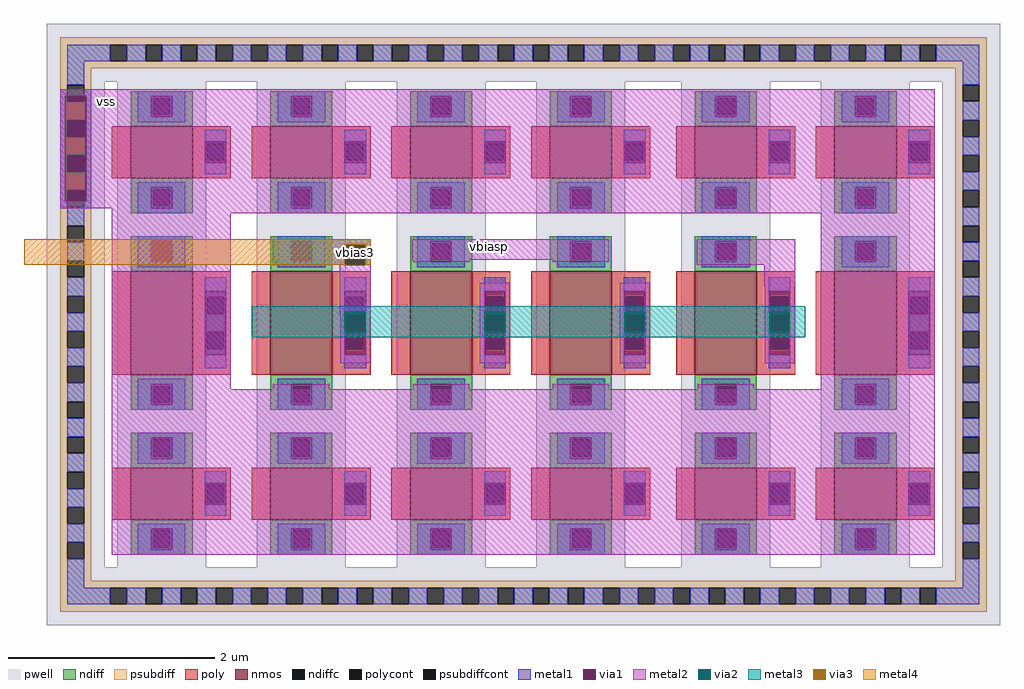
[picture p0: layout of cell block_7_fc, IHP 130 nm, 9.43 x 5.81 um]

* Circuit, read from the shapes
.subckt block_7_fc vbias3 vbiasp vss
XM1 vss vss vss vss sg13_lv_nmos w=0.6u l=0.5u m=12
XM2 vss vss vss vss sg13_lv_nmos w=0.6u l=1u m=2
XM3 vbias3 vbias3 vss vss sg13_lv_nmos w=0.6u l=1u m=2
XM4 vbiasp vbias3 vss vss sg13_lv_nmos w=0.6u l=1u m=2
.ends

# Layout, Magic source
magic
tech ihp-sg13g2
magscale 1 2
<< pwell >>
rect -196 654 1646 766
rect -196 -284 -84 654
rect 1534 -284 1646 654
rect -196 -396 1646 -284
<< psubdiff >>
rect -170 726 1620 740
rect -170 694 -73 726
rect -41 694 -5 726
rect 27 694 63 726
rect 95 694 131 726
rect 163 694 199 726
rect 231 694 267 726
rect 299 694 335 726
rect 367 694 403 726
rect 435 694 471 726
rect 503 694 539 726
rect 571 694 607 726
rect 639 694 675 726
rect 707 694 743 726
rect 775 694 811 726
rect 843 694 879 726
rect 911 694 947 726
rect 979 694 1015 726
rect 1047 694 1083 726
rect 1115 694 1151 726
rect 1183 694 1219 726
rect 1251 694 1287 726
rect 1319 694 1355 726
rect 1387 694 1423 726
rect 1455 694 1491 726
rect 1523 694 1620 726
rect -170 680 1620 694
rect -170 648 -110 680
rect -170 616 -156 648
rect -124 616 -110 648
rect -170 580 -110 616
rect -170 548 -156 580
rect -124 548 -110 580
rect -170 512 -110 548
rect -170 480 -156 512
rect -124 480 -110 512
rect -170 444 -110 480
rect -170 412 -156 444
rect -124 412 -110 444
rect -170 376 -110 412
rect -170 344 -156 376
rect -124 344 -110 376
rect -170 308 -110 344
rect -170 276 -156 308
rect -124 276 -110 308
rect -170 240 -110 276
rect -170 208 -156 240
rect -124 208 -110 240
rect -170 172 -110 208
rect -170 140 -156 172
rect -124 140 -110 172
rect -170 104 -110 140
rect -170 72 -156 104
rect -124 72 -110 104
rect -170 36 -110 72
rect -170 4 -156 36
rect -124 4 -110 36
rect -170 -32 -110 4
rect -170 -64 -156 -32
rect -124 -64 -110 -32
rect -170 -100 -110 -64
rect -170 -132 -156 -100
rect -124 -132 -110 -100
rect -170 -168 -110 -132
rect -170 -200 -156 -168
rect -124 -200 -110 -168
rect -170 -236 -110 -200
rect -170 -268 -156 -236
rect -124 -268 -110 -236
rect -170 -310 -110 -268
rect 1560 648 1620 680
rect 1560 616 1574 648
rect 1606 616 1620 648
rect 1560 580 1620 616
rect 1560 548 1574 580
rect 1606 548 1620 580
rect 1560 512 1620 548
rect 1560 480 1574 512
rect 1606 480 1620 512
rect 1560 444 1620 480
rect 1560 412 1574 444
rect 1606 412 1620 444
rect 1560 376 1620 412
rect 1560 344 1574 376
rect 1606 344 1620 376
rect 1560 308 1620 344
rect 1560 276 1574 308
rect 1606 276 1620 308
rect 1560 240 1620 276
rect 1560 208 1574 240
rect 1606 208 1620 240
rect 1560 172 1620 208
rect 1560 140 1574 172
rect 1606 140 1620 172
rect 1560 104 1620 140
rect 1560 72 1574 104
rect 1606 72 1620 104
rect 1560 36 1620 72
rect 1560 4 1574 36
rect 1606 4 1620 36
rect 1560 -32 1620 4
rect 1560 -64 1574 -32
rect 1606 -64 1620 -32
rect 1560 -100 1620 -64
rect 1560 -132 1574 -100
rect 1606 -132 1620 -100
rect 1560 -168 1620 -132
rect 1560 -200 1574 -168
rect 1606 -200 1620 -168
rect 1560 -236 1620 -200
rect 1560 -268 1574 -236
rect 1606 -268 1620 -236
rect 1560 -310 1620 -268
rect -170 -324 1620 -310
rect -170 -356 -73 -324
rect -41 -356 -5 -324
rect 27 -356 63 -324
rect 95 -356 131 -324
rect 163 -356 199 -324
rect 231 -356 267 -324
rect 299 -356 335 -324
rect 367 -356 403 -324
rect 435 -356 471 -324
rect 503 -356 539 -324
rect 571 -356 607 -324
rect 639 -356 675 -324
rect 707 -356 743 -324
rect 775 -356 811 -324
rect 843 -356 879 -324
rect 911 -356 947 -324
rect 979 -356 1015 -324
rect 1047 -356 1083 -324
rect 1115 -356 1151 -324
rect 1183 -356 1219 -324
rect 1251 -356 1287 -324
rect 1319 -356 1355 -324
rect 1387 -356 1423 -324
rect 1455 -356 1491 -324
rect 1523 -356 1620 -324
rect -170 -370 1620 -356
<< psubdiffcont >>
rect -73 694 -41 726
rect -5 694 27 726
rect 63 694 95 726
rect 131 694 163 726
rect 199 694 231 726
rect 267 694 299 726
rect 335 694 367 726
rect 403 694 435 726
rect 471 694 503 726
rect 539 694 571 726
rect 607 694 639 726
rect 675 694 707 726
rect 743 694 775 726
rect 811 694 843 726
rect 879 694 911 726
rect 947 694 979 726
rect 1015 694 1047 726
rect 1083 694 1115 726
rect 1151 694 1183 726
rect 1219 694 1251 726
rect 1287 694 1319 726
rect 1355 694 1387 726
rect 1423 694 1455 726
rect 1491 694 1523 726
rect -156 616 -124 648
rect -156 548 -124 580
rect -156 480 -124 512
rect -156 412 -124 444
rect -156 344 -124 376
rect -156 276 -124 308
rect -156 208 -124 240
rect -156 140 -124 172
rect -156 72 -124 104
rect -156 4 -124 36
rect -156 -64 -124 -32
rect -156 -132 -124 -100
rect -156 -200 -124 -168
rect -156 -268 -124 -236
rect 1574 616 1606 648
rect 1574 548 1606 580
rect 1574 480 1606 512
rect 1574 412 1606 444
rect 1574 344 1606 376
rect 1574 276 1606 308
rect 1574 208 1606 240
rect 1574 140 1606 172
rect 1574 72 1606 104
rect 1574 4 1606 36
rect 1574 -64 1606 -32
rect 1574 -132 1606 -100
rect 1574 -200 1606 -168
rect 1574 -268 1606 -236
rect -73 -356 -41 -324
rect -5 -356 27 -324
rect 63 -356 95 -324
rect 131 -356 163 -324
rect 199 -356 231 -324
rect 267 -356 299 -324
rect 335 -356 367 -324
rect 403 -356 435 -324
rect 471 -356 503 -324
rect 539 -356 571 -324
rect 607 -356 639 -324
rect 675 -356 707 -324
rect 743 -356 775 -324
rect 811 -356 843 -324
rect 879 -356 911 -324
rect 947 -356 979 -324
rect 1015 -356 1047 -324
rect 1083 -356 1115 -324
rect 1151 -356 1183 -324
rect 1219 -356 1251 -324
rect 1287 -356 1319 -324
rect 1355 -356 1387 -324
rect 1423 -356 1455 -324
rect 1491 -356 1523 -324
<< metal1 >>
rect -156 694 -73 726
rect -41 694 -5 726
rect 27 694 63 726
rect 95 694 131 726
rect 163 694 199 726
rect 231 694 267 726
rect 299 694 335 726
rect 367 694 403 726
rect 435 694 471 726
rect 503 694 539 726
rect 571 694 607 726
rect 639 694 675 726
rect 707 694 743 726
rect 775 694 811 726
rect 843 694 879 726
rect 911 694 947 726
rect 979 694 1015 726
rect 1047 694 1083 726
rect 1115 694 1151 726
rect 1183 694 1219 726
rect 1251 694 1287 726
rect 1319 694 1355 726
rect 1387 694 1423 726
rect 1455 694 1491 726
rect 1523 694 1606 726
rect -156 648 -124 694
rect -170 627 -156 640
rect 1574 648 1606 694
rect -124 627 -110 640
rect -170 423 -160 627
rect -120 423 -110 627
rect -170 412 -156 423
rect -124 412 -110 423
rect -170 410 -110 412
rect 1574 580 1606 616
rect 1574 512 1606 548
rect 1574 444 1606 480
rect -156 376 -124 410
rect -156 308 -124 344
rect -156 240 -124 276
rect -156 172 -124 208
rect -156 104 -124 140
rect -156 36 -124 72
rect -156 -32 -124 4
rect -156 -100 -124 -64
rect -156 -168 -124 -132
rect -156 -236 -124 -200
rect -156 -324 -124 -268
rect 1574 376 1606 412
rect 1574 308 1606 344
rect 1574 240 1606 276
rect 1574 172 1606 208
rect 1574 104 1606 140
rect 1574 36 1606 72
rect 1574 -32 1606 4
rect 1574 -100 1606 -64
rect 1574 -168 1606 -132
rect 1574 -236 1606 -200
rect 1574 -324 1606 -268
rect -156 -356 -73 -324
rect -41 -356 -5 -324
rect 27 -356 63 -324
rect 95 -356 131 -324
rect 163 -356 199 -324
rect 231 -356 267 -324
rect 299 -356 335 -324
rect 367 -356 403 -324
rect 435 -356 471 -324
rect 503 -356 539 -324
rect 571 -356 607 -324
rect 639 -356 675 -324
rect 707 -356 743 -324
rect 775 -356 811 -324
rect 843 -356 879 -324
rect 911 -356 947 -324
rect 979 -356 1015 -324
rect 1047 -356 1083 -324
rect 1115 -356 1151 -324
rect 1183 -356 1219 -324
rect 1251 -356 1287 -324
rect 1319 -356 1355 -324
rect 1387 -356 1423 -324
rect 1455 -356 1491 -324
rect 1523 -356 1606 -324
<< via1 >>
rect -160 616 -156 627
rect -156 616 -124 627
rect -124 616 -120 627
rect -160 580 -120 616
rect -160 548 -156 580
rect -156 548 -124 580
rect -124 548 -120 580
rect -160 512 -120 548
rect -160 480 -156 512
rect -156 480 -124 512
rect -124 480 -120 512
rect -160 444 -120 480
rect -160 423 -156 444
rect -156 423 -124 444
rect -124 423 -120 444
<< metal2 >>
rect -170 627 1520 640
rect -170 423 -160 627
rect -120 423 1520 627
rect -170 410 1520 423
rect -70 400 1520 410
rect -70 60 160 400
rect 250 340 430 350
rect 250 300 380 340
rect 420 300 430 340
rect 510 310 890 350
rect 1060 300 1250 350
rect 370 210 430 300
rect 1190 260 1250 300
rect 370 200 380 210
rect 420 200 430 210
rect 1300 60 1520 400
rect -70 -260 1520 60
<< via2 >>
rect 380 300 420 340
rect 380 170 420 210
rect 650 170 690 210
rect 920 170 960 210
rect 1200 170 1240 210
<< metal3 >>
rect 240 340 430 350
rect 240 300 380 340
rect 420 300 430 340
rect 200 210 1270 220
rect 200 170 380 210
rect 420 170 650 210
rect 690 170 920 210
rect 960 170 1200 210
rect 1240 170 1270 210
rect 200 160 1270 170
<< via3 >>
rect 380 300 420 340
<< metal4 >>
rect -240 340 430 350
rect -240 300 380 340
rect 420 300 430 340
use sg13_lv_nmos_37Z7VP  sg13_lv_nmos_37Z7VP_0
transform 0 1 45 -1 0 188
box -194 -115 194 115
use sg13_lv_nmos_37Z7VP  sg13_lv_nmos_37Z7VP_1
transform 0 1 585 -1 0 188
box -194 -115 194 115
use sg13_lv_nmos_37Z7VP  sg13_lv_nmos_37Z7VP_2
transform 0 1 1135 -1 0 188
box -194 -115 194 115
use sg13_lv_nmos_A7GMYB  sg13_lv_nmos_A7GMYB_0
transform 0 1 45 -1 0 518
box -144 -115 144 115
use sg13_lv_nmos_A7GMYB  sg13_lv_nmos_A7GMYB_1
transform 0 1 315 -1 0 518
box -144 -115 144 115
use sg13_lv_nmos_A7GMYB  sg13_lv_nmos_A7GMYB_2
transform 0 1 855 -1 0 518
box -144 -115 144 115
use sg13_lv_nmos_A7GMYB  sg13_lv_nmos_A7GMYB_3
transform 0 1 585 -1 0 518
box -144 -115 144 115
use sg13_lv_nmos_A7GMYB  sg13_lv_nmos_A7GMYB_4
transform 0 1 1405 -1 0 518
box -144 -115 144 115
use sg13_lv_nmos_A7GMYB  sg13_lv_nmos_A7GMYB_5
transform 0 1 1135 -1 0 518
box -144 -115 144 115
use sg13_lv_nmos_A7GMYB  sg13_lv_nmos_A7GMYB_6
transform 0 1 1405 -1 0 -142
box -144 -115 144 115
use sg13_lv_nmos_A7GMYB  sg13_lv_nmos_A7GMYB_7
transform 0 1 1135 -1 0 -142
box -144 -115 144 115
use sg13_lv_nmos_A7GMYB  sg13_lv_nmos_A7GMYB_8
transform 0 1 855 -1 0 -142
box -144 -115 144 115
use sg13_lv_nmos_A7GMYB  sg13_lv_nmos_A7GMYB_9
transform 0 1 585 -1 0 -142
box -144 -115 144 115
use sg13_lv_nmos_A7GMYB  sg13_lv_nmos_A7GMYB_10
transform 0 1 315 -1 0 -142
box -144 -115 144 115
use sg13_lv_nmos_A7GMYB  sg13_lv_nmos_A7GMYB_11
transform 0 1 45 -1 0 -142
box -144 -115 144 115
use sg13_lv_nmos_BLZ7V5  sg13_lv_nmos_BLZ7V5_0
transform 0 -1 315 -1 0 188
box -194 -115 194 115
use sg13_lv_nmos_BLZ7V5  sg13_lv_nmos_BLZ7V5_1
transform 0 -1 855 -1 0 188
box -194 -115 194 115
use sg13_lv_nmos_BLZ7V5  sg13_lv_nmos_BLZ7V5_2
transform 0 -1 1405 -1 0 188
box -194 -115 194 115
<< labels >>
flabel metal2 s 380 310 420 340 0 FreeSans 2979 0 0 0 vbias3
flabel metal2 s 640 320 680 350 0 FreeSans 2979 0 0 0 vbiasp
flabel metal2 s -100 600 -60 630 0 FreeSans 2979 0 0 0 vss
<< end >>

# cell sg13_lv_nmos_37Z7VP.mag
magic
tech ihp-sg13g2
magscale 1 2
<< pwell >>
rect -194 -105 194 67
<< nmos >>
rect -100 -79 100 41
<< ndiff >>
rect -168 -3 -100 41
rect -168 -35 -154 -3
rect -122 -35 -100 -3
rect -168 -79 -100 -35
rect 100 -3 168 41
rect 100 -35 122 -3
rect 154 -35 168 -3
rect 100 -79 168 -35
<< ndiffc >>
rect -154 -35 -122 -3
rect 122 -35 154 -3
<< poly >>
rect -100 101 100 115
rect -100 69 -50 101
rect -18 69 18 101
rect 50 69 100 101
rect -100 41 100 69
rect -100 -115 100 -79
<< polycont >>
rect -50 69 -18 101
rect 18 69 50 101
<< metal1 >>
rect -88 105 88 106
rect -88 65 -61 105
rect 61 65 88 105
rect -88 64 88 65
rect -168 1 -108 27
rect -168 -39 -158 1
rect -118 -39 -108 1
rect -168 -65 -108 -39
rect 108 1 168 27
rect 108 -39 118 1
rect 158 -39 168 1
rect 108 -65 168 -39
<< via1 >>
rect -61 101 61 105
rect -61 69 -50 101
rect -50 69 -18 101
rect -18 69 18 101
rect 18 69 50 101
rect 50 69 61 101
rect -61 65 61 69
rect -158 -3 -118 1
rect -158 -35 -154 -3
rect -154 -35 -122 -3
rect -122 -35 -118 -3
rect -158 -39 -118 -35
rect 118 -3 158 1
rect 118 -35 122 -3
rect 122 -35 154 -3
rect 154 -35 158 -3
rect 118 -39 158 -35
<< metal2 >>
rect -78 105 78 114
rect -78 65 -61 105
rect 61 65 78 105
rect -78 56 78 65
rect -158 1 -118 35
rect -158 -73 -118 -39
rect 118 1 158 35
rect 118 -73 158 -39
<< labels >>
rlabel metal1 s -138 -19 -138 -19 4 D
rlabel metal1 s 138 -19 138 -19 4 S
rlabel metal1 s 0 85 0 85 4 G
<< end >>

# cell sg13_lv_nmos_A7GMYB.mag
magic
tech ihp-sg13g2
magscale 1 2
<< pwell >>
rect -144 -105 144 67
<< nmos >>
rect -50 -79 50 41
<< ndiff >>
rect -118 -3 -50 41
rect -118 -35 -104 -3
rect -72 -35 -50 -3
rect -118 -79 -50 -35
rect 50 -3 118 41
rect 50 -35 72 -3
rect 104 -35 118 -3
rect 50 -79 118 -35
<< ndiffc >>
rect -104 -35 -72 -3
rect 72 -35 104 -3
<< poly >>
rect -50 101 50 115
rect -50 69 -16 101
rect 16 69 50 101
rect -50 41 50 69
rect -50 -115 50 -79
<< polycont >>
rect -16 69 16 101
<< metal1 >>
rect -43 105 43 106
rect -43 65 -20 105
rect 20 65 43 105
rect -43 64 43 65
rect -118 1 -58 27
rect -118 -39 -108 1
rect -68 -39 -58 1
rect -118 -65 -58 -39
rect 58 1 118 27
rect 58 -39 68 1
rect 108 -39 118 1
rect 58 -65 118 -39
<< via1 >>
rect -20 101 20 105
rect -20 69 -16 101
rect -16 69 16 101
rect 16 69 20 101
rect -20 65 20 69
rect -108 -3 -68 1
rect -108 -35 -104 -3
rect -104 -35 -72 -3
rect -72 -35 -68 -3
rect -108 -39 -68 -35
rect 68 -3 108 1
rect 68 -35 72 -3
rect 72 -35 104 -3
rect 104 -35 108 -3
rect 68 -39 108 -35
<< metal2 >>
rect -28 105 28 114
rect -28 65 -20 105
rect 20 65 28 105
rect -28 56 28 65
rect -108 1 -68 35
rect -108 -73 -68 -39
rect 68 1 108 35
rect 68 -73 108 -39
<< labels >>
rlabel metal1 s -88 -19 -88 -19 4 D
rlabel metal1 s 88 -19 88 -19 4 S
rlabel metal1 s 0 85 0 85 4 G
<< end >>

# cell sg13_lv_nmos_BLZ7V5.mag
magic
tech ihp-sg13g2
magscale 1 2
<< pwell >>
rect -194 -67 194 105
<< nmos >>
rect -100 -41 100 79
<< ndiff >>
rect -168 35 -100 79
rect -168 3 -154 35
rect -122 3 -100 35
rect -168 -41 -100 3
rect 100 35 168 79
rect 100 3 122 35
rect 154 3 168 35
rect 100 -41 168 3
<< ndiffc >>
rect -154 3 -122 35
rect 122 3 154 35
<< poly >>
rect -100 79 100 115
rect -100 -69 100 -41
rect -100 -101 -50 -69
rect -18 -101 18 -69
rect 50 -101 100 -69
rect -100 -115 100 -101
<< polycont >>
rect -50 -101 -18 -69
rect 18 -101 50 -69
<< metal1 >>
rect -168 39 -108 65
rect -168 -1 -158 39
rect -118 -1 -108 39
rect -168 -27 -108 -1
rect 108 39 168 65
rect 108 -1 118 39
rect 158 -1 168 39
rect 108 -27 168 -1
rect -88 -65 88 -64
rect -88 -105 -61 -65
rect 61 -105 88 -65
rect -88 -106 88 -105
<< via1 >>
rect -158 35 -118 39
rect -158 3 -154 35
rect -154 3 -122 35
rect -122 3 -118 35
rect -158 -1 -118 3
rect 118 35 158 39
rect 118 3 122 35
rect 122 3 154 35
rect 154 3 158 35
rect 118 -1 158 3
rect -61 -69 61 -65
rect -61 -101 -50 -69
rect -50 -101 -18 -69
rect -18 -101 18 -69
rect 18 -101 50 -69
rect 50 -101 61 -69
rect -61 -105 61 -101
<< metal2 >>
rect -158 39 -118 73
rect -158 -35 -118 -1
rect 118 39 158 73
rect 118 -35 158 -1
rect -78 -65 78 -56
rect -78 -105 -61 -65
rect 61 -105 78 -65
rect -78 -114 78 -105
<< labels >>
rlabel metal1 s -138 19 -138 19 4 D
rlabel metal1 s 138 19 138 19 4 S
rlabel metal1 s 0 -85 0 -85 4 G
<< end >>
